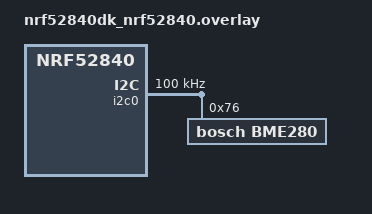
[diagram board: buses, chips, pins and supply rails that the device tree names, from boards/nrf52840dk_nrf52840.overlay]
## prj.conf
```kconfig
CONFIG_GPIO=y
CONFIG_SENSOR=y
CONFIG_SHELL=y
CONFIG_SENSOR_SHELL=y

CONFIG_GPIO_SHELL=y
CONFIG_STDOUT_CONSOLE=y
CONFIG_I2C=y
CONFIG_SHELL_ARGC_MAX=26
CONFIG_SHELL_CMD_BUFF_SIZE=416
CONFIG_BME280=y
```

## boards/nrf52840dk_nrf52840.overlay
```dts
/*
 * Copyright (c) 2020, Nordic Semiconductor ASA
 *
 * SPDX-License-Identifier: Apache-2.0
 */

/*
 * Example configuration of a BME280 device on an Arduino I2C bus.
 *
 * Device address 0x77 is assumed. Your device may have a different
 * address; check your device documentation if unsure.
 */

&i2c0{
	compatible = "nordic,nrf-twim";
    	status = "ok";
    	clock-frequency = <I2C_BITRATE_STANDARD>;
    	bme280@76 {
        	compatible = "bosch,bme280";
        	reg = <0x76>;
        	label = "BME280";
    };
};
```

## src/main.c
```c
/*
 * Copyright (c) 2016 Open-RnD Sp. z o.o.
 * Copyright (c) 2020 Nordic Semiconductor ASA
 *
 * SPDX-License-Identifier: Apache-2.0
 */

#include <zephyr.h>
#include <device.h>
#include <drivers/gpio.h>
#include <sys/util.h>
#include <sys/printk.h>
#include <inttypes.h>
#include <shell/shell.h>
#include <drivers/sensor.h>
#include <stdio.h>
#include <sys/util.h>

extern void sensor_init(void);

//char* shell_getline(const struct shell *shell, char *buf, const size_t len);
#define SLEEP_TIME_MS	1
#define NRF_CLI_UART_ENABLED 1

extern void process(struct device *dev);
/*
 * Get button configuration from the devicetree sw0 alias. This is mandatory.
 */
#define SW0_NODE	DT_ALIAS(sw0)
#if !DT_NODE_HAS_STATUS(SW0_NODE, okay)
#error "Unsupported board: sw0 devicetree alias is not defined"
#endif
static const struct gpio_dt_spec button = GPIO_DT_SPEC_GET_OR(SW0_NODE, gpios,
							      {0});
static struct gpio_callback button_cb_data;

/*
 * The led0 devicetree alias is optional. If present, we'll use it
 * to turn on the LED whenever the button is pressed.
 */
static struct gpio_dt_spec led = GPIO_DT_SPEC_GET_OR(DT_ALIAS(led0), gpios,
						     {0});

void button_pressed(const struct device *dev, struct gpio_callback *cb,
		    uint32_t pins)
{
	printk("Button pressed at %" PRIu32 "\n", k_cycle_get_32());
}




void main(void)
{
	int ret;

	if (!device_is_ready(button.port)) {
		printk("Error: button device %s is not ready\n",
		       button.port->name);
		return;
	}

	ret = gpio_pin_configure_dt(&button, GPIO_INPUT);
	if (ret != 0) {
		printk("Error %d: failed to configure %s pin %d\n",
		       ret, button.port->name, button.pin);
		return;
	}

	ret = gpio_pin_interrupt_configure_dt(&button,
					      GPIO_INT_EDGE_TO_ACTIVE);
	if (ret != 0) {
		printk("Error %d: failed to configure interrupt on %s pin %d\n",
			ret, button.port->name, button.pin);
		return;
	}

	gpio_init_callback(&button_cb_data, button_pressed, BIT(button.pin));
	gpio_add_callback(button.port, &button_cb_data);
	printk("Set up button at %s pin %d\n", button.port->name, button.pin);

	if (led.port && !device_is_ready(led.port)) {
		printk("Error %d: LED device %s is not ready; ignoring it\n",
		       ret, led.port->name);
		led.port = NULL;
	}
	if (led.port) {
		ret = gpio_pin_configure_dt(&led, GPIO_OUTPUT);
		if (ret != 0) {
			printk("Error %d: failed to configure LED device %s pin %d\n",
			       ret, led.port->name, led.pin);
			led.port = NULL;
		} else {
			printk("Set up LED at %s pin %d\n", led.port->name, led.pin);
		}
	}

	printk("Press the button\n");
	if (led.port) {
		while (1) {
			/* If we have an LED, match its state to the button's. */
			int val = gpio_pin_get_dt(&button);

			if (val >= 0) {
				gpio_pin_set_dt(&led, val);
			}
			k_msleep(SLEEP_TIME_MS);
		}
	}
}
```
